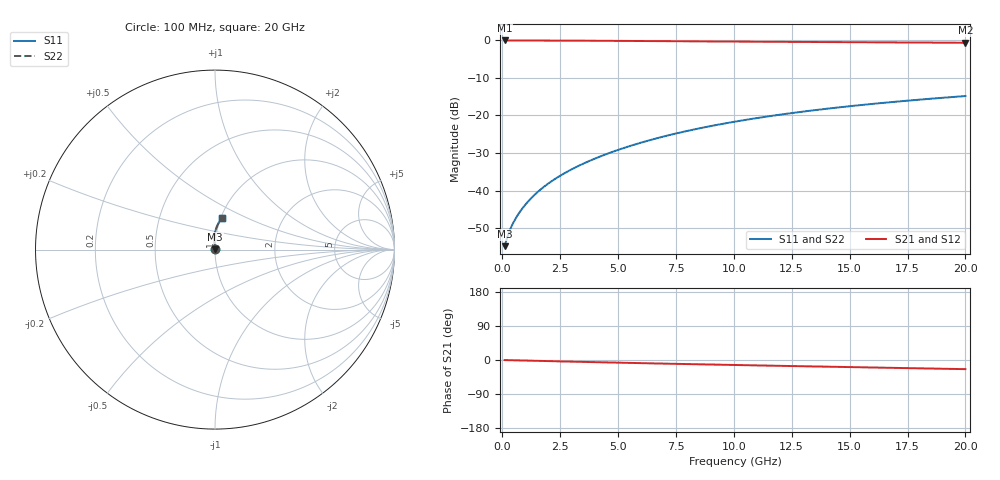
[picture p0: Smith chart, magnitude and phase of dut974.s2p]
! Touchstone file exported from HFSS 2024.1.0
!  File:  C:/UserFiles/LocalFiles/RDL_TSV_Batchsim/temp_RDL_top_974_1779938951.aedt
!  Generated:  11:31:31 AM May 28, 2026
!  Design:  RDL_top
!  Project:  temp_RDL_top_974_1779938951
!  Setup:  Setup1
!  Solution:  Sweep
! Variables:
!  dtsv = 10.80580581um
!  hbump = 3um
!  htsv = 84.82um
!  ldown = 100um
!  lrdl = 371.45um
!  p = 40
!  p1 = 44.38um
!  rhole = 1um
!  t = 450um
!  tdown = 3.915915916um
!  trdl = 3.4um
!  wdown = 15.38538539um
!  wrdl = 28.3um
# GHz S MA R 50.000000
! Terminal data exported
! Port[1] = Box2_T1
! Port[2] = Box2_T2
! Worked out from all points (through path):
!   200 points, 100 MHz to 20 GHz, reference 50 ohm
!   highest |S21| = -0.01 dB at 100 MHz (marker M1); lowest = -0.6 dB at 20 GHz (marker M2)
!   group delay of S21, straight-line fit = 3.3 ps
!   lowest |S11| = -54.8 dB at 100 MHz (marker M3), VSWR 1.00, Z = 50.2 + j0.0794 ohm
!   |S11| at or under -10 dB: start of sweep to end of sweep
!   |S22| runs from -54.8 to -14.8 dB; largest |S21 - S12| = 4.3e-15
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0.1  0.001819 25.8  0.9984 -0.2  0.9984 -0.2  0.001819 25.8
! Gamma 0 0 0 0
! Port Impedance 50 0 50 0
0.2  0.002313 40.5  0.9982 -0.3  0.9982 -0.3  0.002313 40.5
0.3  0.00284 48.8  0.998 -0.5  0.998 -0.5  0.00284 48.8
0.4  0.003353 54.5  0.9979 -0.6  0.9979 -0.6  0.003353 54.5
0.5  0.00386 59.0  0.9978 -0.8  0.9978 -0.8  0.00386 59.0
0.8  0.005424 68.6  0.9974 -1.2  0.9974 -1.2  0.005423 68.6
1  0.006518 73.0  0.9972 -1.5  0.9972 -1.5  0.006518 73.0
1.2  0.007652 76.4  0.9969 -1.8  0.9969 -1.8  0.007652 76.5
1.7  0.01063 82.4  0.996 -2.5  0.996 -2.5  0.01063 82.4
2.2  0.01379 86.2  0.995 -3.2  0.995 -3.2  0.01379 86.2
2.8  0.01782 89.4  0.9934 -4.1  0.9934 -4.1  0.01782 89.4
3.5  0.02286 91.9  0.9912 -5.0  0.9912 -5.0  0.02286 91.9
4.2  0.02825 93.4  0.9887 -6.0  0.9887 -6.0  0.02825 93.5
5  0.03482 94.5  0.9855 -7.0  0.9855 -7.0  0.03482 94.5
5.9  0.04267 94.9  0.9818 -8.2  0.9818 -8.2  0.04268 94.9
6.8  0.05093 94.7  0.978 -9.3  0.978 -9.3  0.05095 94.8
8.4  0.06635 93.6  0.9713 -11.3  0.9713 -11.3  0.06637 93.6
10.1  0.08335 91.6  0.9644 -13.3  0.9644 -13.3  0.08338 91.7
11.7  0.09958 89.5  0.9582 -15.1  0.9582 -15.1  0.09962 89.5
13.4  0.1168 87.0  0.952 -17.0  0.952 -17.0  0.1169 87.1
16.7  0.1498 82.2  0.9408 -20.6  0.9408 -20.6  0.1499 82.2
20  0.1815 77.5  0.9302 -24.1  0.9302 -24.1  0.1816 77.5
